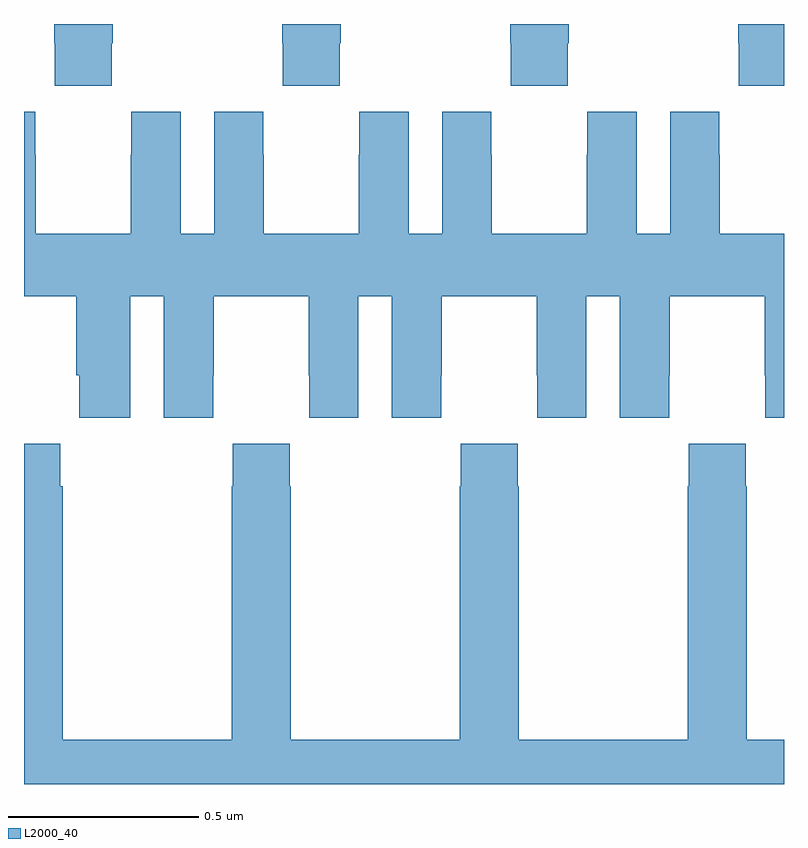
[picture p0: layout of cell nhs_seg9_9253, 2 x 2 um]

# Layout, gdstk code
import gdstk
lib = gdstk.Library(unit=1e-6, precision=1e-09)
def P(c, l, *ps):  # polygons
    for p in ps: c.add(gdstk.Polygon(p, *l))
L2000_40 = (2000, 40)

nhs_seg9_9253 = lib.new_cell('nhs_seg9_9253')
P(nhs_seg9_9253, L2000_40, [(228.231,1166.449),(228.234,1166.449),(228.234,1166.5),(228.079,1166.5),(228.079,1166.449),(228.081,1166.449),(228.081,1166.337),(228.231,1166.337)],
  [(228.831,1166.449),(228.834,1166.449),(228.834,1166.5),(228.679,1166.5),(228.679,1166.449),(228.681,1166.449),(228.681,1166.337),(228.831,1166.337)],
  [(229.431,1166.449),(229.434,1166.449),(229.434,1166.5),(229.279,1166.5),(229.279,1166.449),(229.281,1166.449),(229.281,1166.337),(229.431,1166.337)],
  [(230,1166.5),(229.879,1166.5),(229.879,1166.449),(229.881,1166.449),(229.881,1166.337),(230,1166.337)],
  [(229.831,1166.156),(229.83,1166.156),(229.83,1166.269),(229.7,1166.269),(229.7,1165.948),(229.612,1165.948),(229.612,1166.269),(229.482,1166.269),(229.482,1166.156),(229.481,1166.156),(229.481,1165.948),(229.231,1165.948),(229.231,1166.156),(229.23,1166.156),(229.23,1166.269),(229.1,1166.269),(229.1,1165.948),(229.012,1165.948),(229.012,1166.269),(228.882,1166.269),(228.882,1166.156),(228.881,1166.156),(228.881,1165.948),(228.631,1165.948),(228.631,1166.156),(228.63,1166.156),(228.63,1166.269),(228.5,1166.269),(228.5,1165.948),(228.412,1165.948),(228.412,1166.269),(228.282,1166.269),(228.282,1166.156),(228.281,1166.156),(228.281,1165.948),(228.031,1165.948),(228.031,1166.156),(228.03,1166.156),(228.03,1166.269),(228,1166.269),(228,1165.784),(228.137,1165.784),(228.137,1165.576),(228.146,1165.576),(228.146,1165.464),(228.28,1165.464),(228.28,1165.784),(228.368,1165.784),(228.368,1165.464),(228.498,1165.464),(228.498,1165.576),(228.499,1165.576),(228.499,1165.784),(228.749,1165.784),(228.749,1165.576),(228.75,1165.576),(228.75,1165.464),(228.88,1165.464),(228.88,1165.784),(228.968,1165.784),(228.968,1165.464),(229.098,1165.464),(229.098,1165.576),(229.099,1165.576),(229.099,1165.784),(229.349,1165.784),(229.349,1165.576),(229.35,1165.576),(229.35,1165.464),(229.48,1165.464),(229.48,1165.784),(229.568,1165.784),(229.568,1165.464),(229.698,1165.464),(229.698,1165.576),(229.699,1165.576),(229.699,1165.784),(229.949,1165.784),(229.949,1165.576),(229.95,1165.576),(229.95,1165.464),(230,1165.464),(230,1165.948),(229.831,1165.948)],
  [(230,1164.616),(229.902,1164.616),(229.902,1165.283),(229.899,1165.283),(229.899,1165.396),(229.749,1165.396),(229.749,1165.283),(229.747,1165.283),(229.747,1164.616),(229.302,1164.616),(229.302,1165.283),(229.299,1165.283),(229.299,1165.396),(229.149,1165.396),(229.149,1165.283),(229.147,1165.283),(229.147,1164.616),(228.702,1164.616),(228.702,1165.283),(228.699,1165.283),(228.699,1165.396),(228.549,1165.396),(228.549,1165.283),(228.547,1165.283),(228.547,1164.616),(228.102,1164.616),(228.102,1165.283),(228.095,1165.283),(228.095,1165.396),(228,1165.396),(228,1164.5),(230,1164.5)])

lib.write_gds('nhs_seg9_9253.gds')
